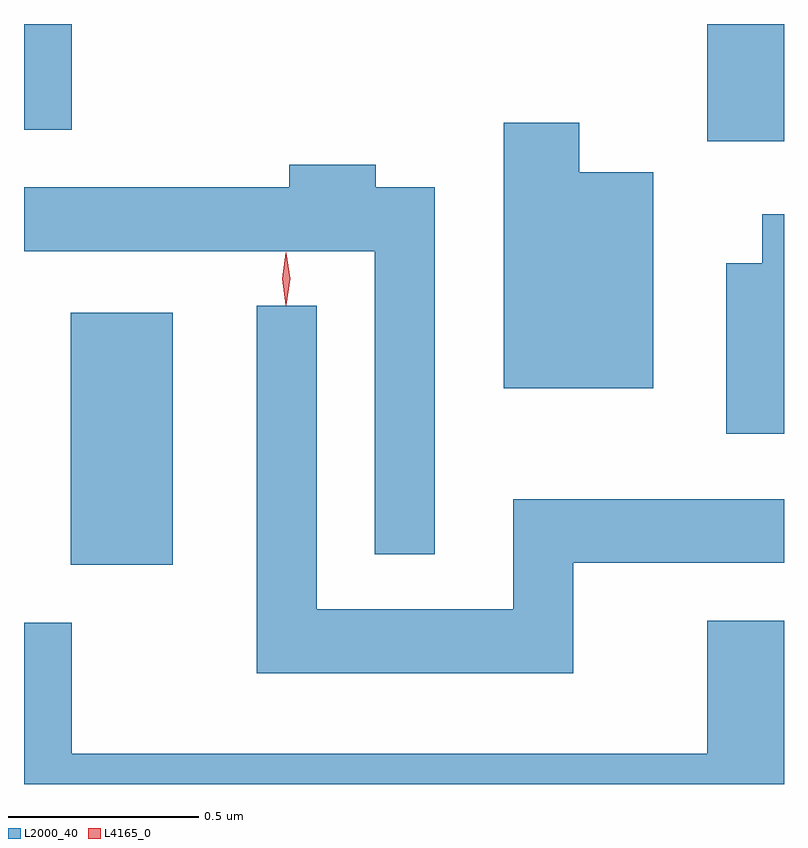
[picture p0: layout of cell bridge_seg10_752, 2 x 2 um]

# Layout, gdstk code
import gdstk
lib = gdstk.Library(unit=1e-6, precision=1e-09)
def R(c, l, rs):  # rectangles x0, y0, x1, y1
    for r in rs: c.add(gdstk.rectangle(r[:2], r[2:], *l))
def P(c, l, *ps):  # polygons
    for p in ps: c.add(gdstk.Polygon(p, *l))
L2000_40 = (2000, 40)
L4165_0 = (4165, 0)

bridge_seg10_752 = lib.new_cell('bridge_seg10_752')
R(bridge_seg10_752, L2000_40, [(893.846,2141.321,894.114,2141.984), (895.521,2142.436,895.723,2142.744), (893.723,2142.466,893.849,2142.744)])
P(bridge_seg10_752, L2000_40, [(895.379,2142.354),(895.184,2142.354),(895.184,2142.484),(894.986,2142.484),(894.986,2141.786),(895.379,2141.786)],
  [(894.804,2142.314),(894.649,2142.314),(894.649,2142.374),(894.421,2142.374),(894.421,2142.314),(893.723,2142.314),(893.723,2142.146),(894.646,2142.146),(894.646,2141.348),(894.804,2141.348)],
  [(895.723,2142.244),(895.666,2142.244),(895.666,2142.114),(895.571,2142.114),(895.571,2141.666),(895.723,2141.666)],
  [(895.169,2141.326),(895.723,2141.326),(895.723,2141.494),(895.011,2141.494),(895.011,2141.204),(894.494,2141.204),(894.494,2142.003),(894.336,2142.003),(894.336,2141.036),(895.169,2141.036)],
  [(895.723,2141.174),(895.521,2141.174),(895.521,2140.824),(893.849,2140.824),(893.849,2141.169),(893.723,2141.169),(893.723,2140.744),(895.723,2140.744)])
P(bridge_seg10_752, L4165_0, [(894.412,2142.007),(894.403,2142.074),(894.412,2142.14),(894.413,2142.14),(894.413,2142.14),(894.423,2142.074),(894.413,2142.007),(894.413,2142.007)],
  [(894.412,2142.004),(894.403,2142.073),(894.412,2142.142),(894.413,2142.143),(894.413,2142.142),(894.423,2142.073),(894.413,2142.004),(894.413,2142.004)])

lib.write_gds('bridge_seg10_752.gds')
